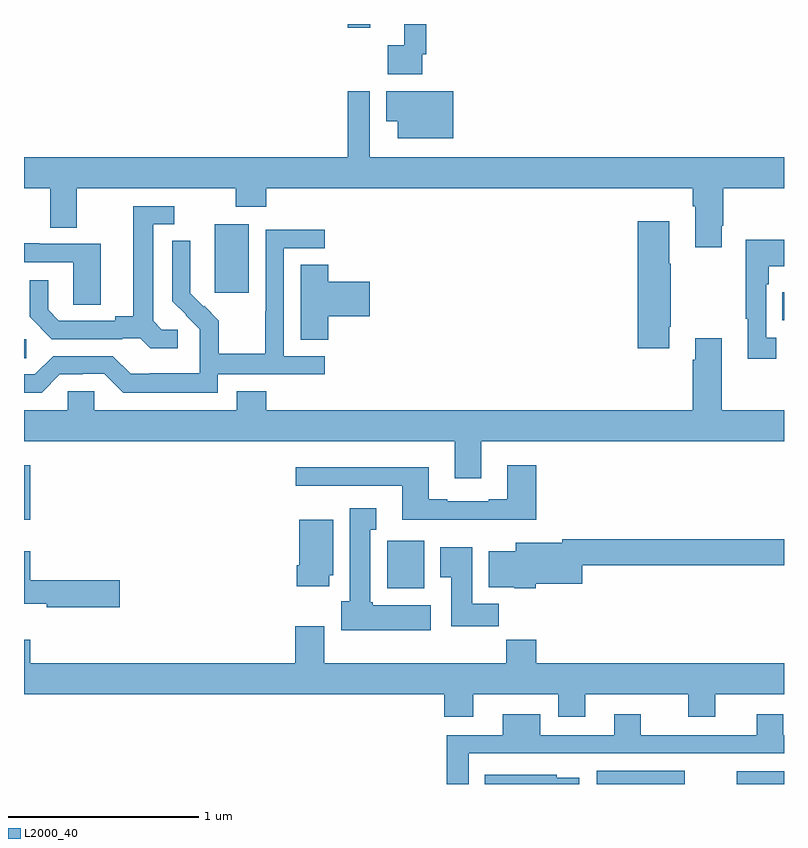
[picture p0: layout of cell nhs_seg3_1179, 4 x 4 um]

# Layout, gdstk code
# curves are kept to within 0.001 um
import gdstk
lib = gdstk.Library(unit=1e-6, precision=1e-09)
def R(c, l, rs):  # rectangles x0, y0, x1, y1
    for r in rs: c.add(gdstk.rectangle(r[:2], r[2:], *l))
def P(c, l, *ps):  # polygons
    for p in ps: c.add(gdstk.Polygon(p, *l))
L2000_40 = (2000, 40)

nhs_seg3_1179 = lib.new_cell('nhs_seg3_1179')
R(nhs_seg3_1179, L2000_40, [(174.014,744.4,174.478,744.469), (174.752,744.4,175,744.466), (172.911,745.43,173.107,745.68), (171,745.79,171.032,746.077), (171,746.641,171.013,746.742), (174.991,746.842,175,746.989), (172.004,746.985,172.183,747.346), (172.705,748.38,172.823,748.4)])
P(nhs_seg3_1179, L2000_40, [(173.097,748.24),(173.117,748.24),(173.117,748.4),(173,748.4),(173,748.289),(172.914,748.289),(172.914,748.136),(173.097,748.136)],
  [(174.673,747.337),(174.681,747.337),(174.681,747.536),(175,747.536),(175,747.7),(172.821,747.7),(172.821,748.045),(172.705,748.045),(172.705,747.7),(171,747.7),(171,747.536),(171.137,747.536),(171.137,747.328),(171.277,747.328),(171.277,747.536),(172.114,747.536),(172.114,747.437),(172.274,747.437),(172.274,747.536),(174.521,747.536),(174.521,747.44),(174.533,747.44),(174.533,747.225),(174.673,747.225)],
  [(173.26,748.045),(172.906,748.045),(172.906,747.887),(172.967,747.887),(172.967,747.8),(173.26,747.8)],
  [(171.808,746.79),(171.726,746.79),(171.679,746.837),(171.679,747.345),(171.79,747.345),(171.79,747.441),(171.575,747.441),(171.575,746.861),(171.479,746.861),(171.479,746.838),(171.184,746.838),(171.127,746.895),(171.127,747.052),(171.03,747.052),(171.03,746.858),(171.146,746.742),(171.518,746.742),(171.518,746.745),(171.612,746.745),(171.664,746.693),(171.808,746.693)],
  [(174.397,746.806),(174.405,746.806),(174.405,747.137),(174.397,747.137),(174.397,747.361),(174.23,747.361),(174.23,746.694),(174.397,746.694)],
  [(172.02,746.556),(172.582,746.556),(172.582,746.652),(172.368,746.652),(172.368,747.219),(172.582,747.219),(172.582,747.318),(172.272,747.318),(172.272,746.888),(172.27,746.888),(172.27,746.665),(172.025,746.665),(172.025,746.839),(171.948,746.916),(171.945,746.913),(171.875,746.984),(171.876,747.26),(171.78,747.26),(171.78,746.942),(171.926,746.794),(171.926,746.697),(171.924,746.697),(171.924,746.563),(171.661,746.563),(171.661,746.559),(171.561,746.559),(171.468,746.652),(171.153,746.652),(171.057,746.556),(171,746.556),(171,746.46),(171.093,746.46),(171.189,746.556),(171.308,746.556),(171.308,746.559),(171.423,746.559),(171.523,746.459),(172.02,746.459)],
  [(174.958,746.75),(174.906,746.75),(174.906,747.029),(174.919,747.029),(174.919,747.125),(175,747.125),(175,747.265),(174.798,747.265),(174.798,746.849),(174.809,746.849),(174.809,746.637),(174.958,746.637)],
  [(171.403,747.243),(171.079,747.243),(171.079,747.247),(171,747.247),(171,747.147),(171.258,747.147),(171.258,746.923),(171.403,746.923)],
  [(172.601,746.861),(172.819,746.861),(172.819,747.044),(172.601,747.044),(172.601,747.134),(172.457,747.134),(172.457,746.737),(172.601,746.737)],
  [(173.407,746.204),(175,746.204),(175,746.368),(174.673,746.368),(174.673,746.746),(174.533,746.746),(174.533,746.633),(174.521,746.633),(174.521,746.368),(172.274,746.368),(172.274,746.467),(172.121,746.467),(172.121,746.368),(171.369,746.368),(171.369,746.466),(171.231,746.466),(171.231,746.368),(171,746.368),(171,746.204),(173.267,746.204),(173.267,746.01),(173.407,746.01)],
  [(173.696,746.077),(173.543,746.077),(173.543,745.9),(173.447,745.9),(173.447,745.887),(173.227,745.887),(173.227,745.9),(173.131,745.9),(173.131,746.068),(172.431,746.068),(172.431,745.971),(172.991,745.971),(172.991,745.79),(173.696,745.79)],
  [(173.14,745.342),(172.836,745.342),(172.836,745.356),(172.822,745.356),(172.822,745.739),(172.855,745.739),(172.855,745.852),(172.715,745.852),(172.715,745.362),(172.67,745.362),(172.67,745.208),(173.14,745.208)],
  [(172.606,745.5),(172.627,745.5),(172.627,745.792),(172.448,745.792),(172.448,745.552),(172.436,745.552),(172.436,745.44),(172.606,745.44)],
  [(173.694,745.454),(173.938,745.454),(173.938,745.552),(175,745.552),(175,745.688),(173.834,745.688),(173.834,745.669),(173.588,745.669),(173.588,745.624),(173.447,745.624),(173.447,745.436),(173.58,745.436),(173.58,745.43),(173.694,745.43)],
  [(173.498,745.348),(173.359,745.348),(173.359,745.645),(173.192,745.645),(173.192,745.489),(173.249,745.489),(173.249,745.23),(173.498,745.23)],
  [(171.505,745.472),(171.034,745.472),(171.034,745.624),(171,745.624),(171,745.349),(171.12,745.349),(171.12,745.33),(171.505,745.33)],
  [(173.365,744.872),(173.813,744.872),(173.813,744.755),(173.953,744.755),(173.953,744.872),(174.497,744.872),(174.497,744.755),(174.637,744.755),(174.637,744.872),(175,744.872),(175,745.036),(173.696,745.036),(173.696,745.16),(173.539,745.16),(173.539,745.036),(172.579,745.036),(172.579,745.231),(172.427,745.231),(172.427,745.036),(171.032,745.036),(171.032,745.16),(171,745.16),(171,744.872),(173.213,744.872),(173.213,744.755),(173.365,744.755)],
  [(173.34,744.561),(175,744.561),(175,744.657),(174.997,744.657),(174.997,744.766),(174.857,744.766),(174.857,744.657),(174.247,744.657),(174.247,744.766),(174.107,744.766),(174.107,744.657),(173.716,744.657),(173.716,744.766),(173.519,744.766),(173.519,744.657),(173.224,744.657),(173.224,744.4),(173.34,744.4)],
  [(173.923,744.433),(173.805,744.433),(173.805,744.448),(173.425,744.448),(173.425,744.4),(173.923,744.4)])

lib.write_gds('nhs_seg3_1179.gds')
